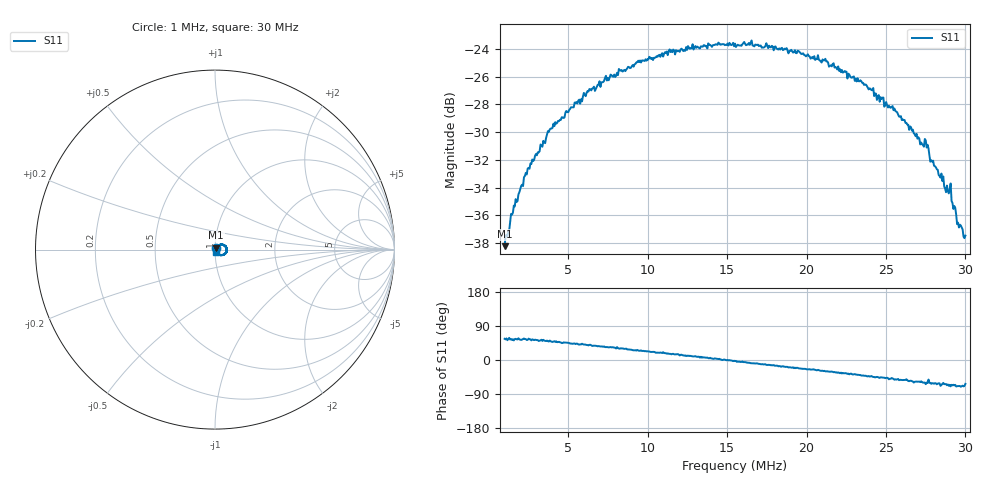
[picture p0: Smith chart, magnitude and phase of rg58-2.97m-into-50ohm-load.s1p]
! Touchstone file generated by AntScopeKit
# MHz S RI R 50
! Format: Frequency S-real S-imaginary (normalized to 50 Ohm)
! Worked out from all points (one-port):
!   501 points, 1 MHz to 30 MHz, reference 50 ohm
!   lowest |S11| = -38.2 dB at 1 MHz (marker M1), VSWR 1.02, Z = 50.7 + j1.03 ohm
!   |S11| at or under -10 dB: start of sweep to end of sweep
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1  0.00687 0.0102
1.232  0.00784 0.0113
1.58  0.0107 0.0135
2.334  0.0128 0.0185
3.494  0.0181 0.0227
3.784  0.0209 0.0239
4.654  0.0253 0.0252
6.278  0.0347 0.0276
8.25  0.0459 0.0263
9.41  0.0519 0.0243
11.904  0.0598 0.0169
14.398  0.0652 0.00347
15.5  0.0659 -0.00337
16.428  0.0648 -0.00843
19.154  0.0578 -0.0203
21.184  0.0505 -0.0289
22.75  0.0404 -0.0298
24.084  0.0332 -0.0302
25.476  0.0243 -0.0292
26.404  0.0191 -0.0277
27.274  0.0151 -0.0243
27.564  0.0142 -0.024
27.912  0.0119 -0.0217
28.492  0.00917 -0.0205
28.782  0.00859 -0.0172
28.956  0.00708 -0.0176
29.536  0.00544 -0.0139
30  0.00609 -0.0119
